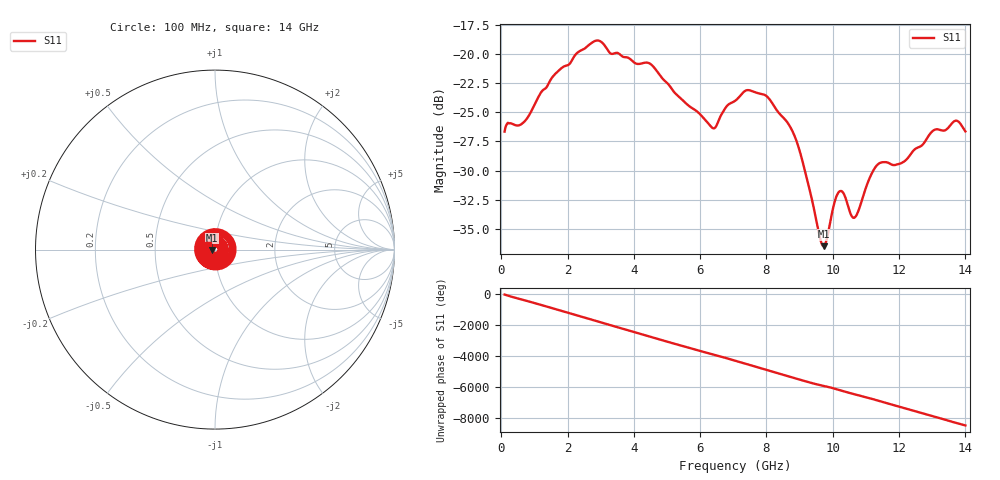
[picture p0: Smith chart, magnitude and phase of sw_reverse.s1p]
!Keysight Technologies E5080B MY59100652 A.14.10.03
!Date: Monday  May 23  2022 11:51:32
!Correction: a1/b1 P2
!S1P File: Measurement: :
# Hz S  RI  R 50
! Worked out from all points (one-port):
!   696 points, 100 MHz to 14 GHz, reference 50 ohm
!   lowest |S11| = -36.5 dB at 9.72 GHz (marker M1), VSWR 1.03, Z = 48.5 - j0.171 ohm
!   |S11| at or under -10 dB: start of sweep to end of sweep
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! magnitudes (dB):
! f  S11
! 100 MHz  -26.7
! 700 MHz  -25.8
! 1.2 GHz  -23.3
! 1.84 GHz  -21.2
! 2.86 GHz  -18.8
! 3.58 GHz  -20.0
! 4.5 GHz  -20.8
! 5.32 GHz  -23.6
! 6.4 GHz  -26.4
! 6.8 GHz  -24.5
! 7.06 GHz  -24.0
! 7.42 GHz  -23.1
! 7.96 GHz  -23.5
! 8.8 GHz  -26.7
! 9.06 GHz  -28.9
! 9.6 GHz  -35.6
! 9.72 GHz  -36.5
! 9.8 GHz  -36.1
! 10.18 GHz  -31.8
! 10.32 GHz  -31.9
! 10.54 GHz  -33.7
! 10.72 GHz  -33.8
! 11.1 GHz  -30.7
! 11.34 GHz  -29.5
! 12.28 GHz  -28.9
! 13.06 GHz  -26.5
! 13.72 GHz  -25.7
! 14 GHz  -26.6
